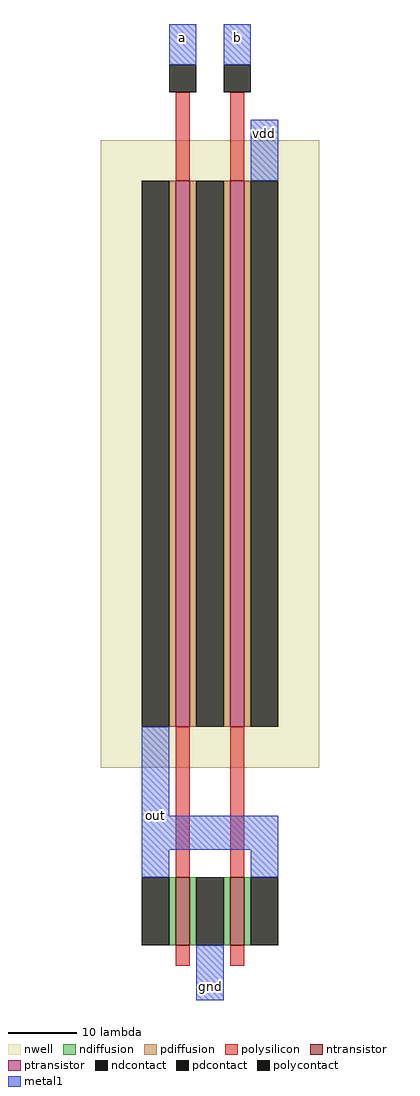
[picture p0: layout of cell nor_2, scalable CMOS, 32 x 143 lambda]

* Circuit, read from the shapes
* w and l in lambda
.subckt nor_2 a b gnd out vdd
M1 gnd a out VSUBS nfet w=10 l=2
M2 out b gnd VSUBS nfet w=10 l=2
M3 n1 a out n2 pfet w=80 l=2
M4 vdd b n1 n2 pfet w=80 l=2
.ends

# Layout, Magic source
magic
tech scmos
<< nwell >>
rect -11 71 21 163
<< ntransistor >>
rect 0 45 2 55
rect 8 45 10 55
<< ptransistor >>
rect 0 77 2 157
rect 8 77 10 157
<< ndiffusion >>
rect -1 45 0 55
rect 2 45 3 55
rect 7 45 8 55
rect 10 45 11 55
<< pdiffusion >>
rect -1 77 0 157
rect 2 77 3 157
rect 7 77 8 157
rect 10 77 11 157
<< ndcontact >>
rect -5 45 -1 55
rect 3 45 7 55
rect 11 45 15 55
<< pdcontact >>
rect -5 77 -1 157
rect 3 77 7 157
rect 11 77 15 157
<< polysilicon >>
rect 0 157 2 170
rect 8 157 10 170
rect 0 55 2 77
rect 8 55 10 77
rect 0 42 2 45
rect 8 42 10 45
<< polycontact >>
rect -1 170 3 174
rect 7 170 11 174
<< metal1 >>
rect -1 174 3 180
rect 7 174 11 180
rect 11 157 15 166
rect -5 64 -1 77
rect -5 59 15 64
rect -5 55 -1 59
rect 11 55 15 59
rect 3 37 7 45
<< labels >>
rlabel metal1 -5 62 -1 66 1 out
rlabel metal1 -5 63 -1 67 1 nor_2
rlabel metal1 7 176 11 180 5 b
rlabel metal1 -1 176 3 180 5 a
rlabel metal1 11 162 15 166 1 vdd
rlabel metal1 3 37 7 41 1 gnd
<< end >>
